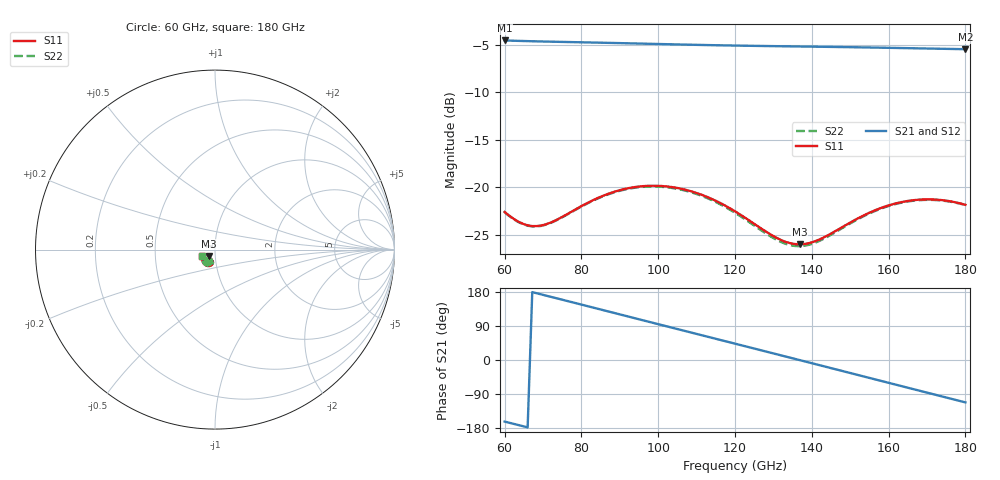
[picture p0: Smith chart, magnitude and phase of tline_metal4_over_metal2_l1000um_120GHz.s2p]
#  GHZ S DB R 50
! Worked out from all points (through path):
!   101 points, 60 GHz to 180 GHz, reference 50 ohm
!   highest |S21| = -4.56 dB at 60 GHz (marker M1); lowest = -5.5 dB at 180 GHz (marker M2)
!   group delay of S21, straight-line fit = 7.16 ps
!   lowest |S11| = -26.0 dB at 136.8 GHz (marker M3), VSWR 1.11, Z = 46.5 - j3.28 ohm
!   |S11| at or under -10 dB: start of sweep to end of sweep
!   |S22| runs from -26.2 to -19.9 dB; largest |S21 - S12| = 9.6e-16
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60  -22.61 -122.3  -4.56 -162.5  -4.56 -162.5  -22.65 -122.3
64.8  -23.86 -115.1  -4.62 -174.8  -4.62 -174.8  -23.90 -115.1
68.4  -24.09 -108.0  -4.65 176.0  -4.65 176.0  -24.14 -108.1
74.4  -23.26 -99.8  -4.71 160.6  -4.71 160.6  -23.30 -99.9
80.4  -21.91 -99.3  -4.76 145.2  -4.76 145.2  -21.96 -99.5
86.4  -20.79 -104.3  -4.81 129.7  -4.81 129.7  -20.84 -104.5
91.2  -20.20 -110.4  -4.85 117.3  -4.85 117.3  -20.26 -110.7
96  -19.89 -117.5  -4.89 104.9  -4.89 104.9  -19.97 -117.8
100.8  -19.87 -125.0  -4.94 92.5  -4.94 92.5  -19.96 -125.4
105.6  -20.13 -132.3  -4.98 80.1  -4.98 80.1  -20.23 -132.8
110.4  -20.67 -139.1  -5.02 67.8  -5.02 67.8  -20.78 -139.6
120  -22.54 -148.8  -5.10 43.1  -5.10 43.1  -22.69 -149.3
128.4  -24.76 -148.1  -5.15 21.5  -5.15 21.5  -24.96 -148.5
133.2  -25.75 -141.9  -5.17 9.1  -5.17 9.1  -25.96 -142.0
136.8  -26.01 -135.3  -5.19 -0.2  -5.19 -0.2  -26.21 -135.1
140.4  -25.75 -128.8  -5.21 -9.5  -5.21 -9.5  -25.92 -128.6
150  -23.73 -122.0  -5.27 -34.3  -5.27 -34.3  -23.82 -121.9
156  -22.51 -124.9  -5.30 -49.9  -5.30 -49.9  -22.58 -125.1
160.8  -21.82 -129.5  -5.34 -62.3  -5.34 -62.3  -21.89 -129.8
165.6  -21.41 -135.2  -5.37 -74.7  -5.37 -74.7  -21.47 -135.6
170.4  -21.28 -141.3  -5.41 -87.1  -5.41 -87.1  -21.33 -141.9
180  -21.86 -153.1  -5.48 -111.9  -5.48 -111.9  -21.88 -153.9
